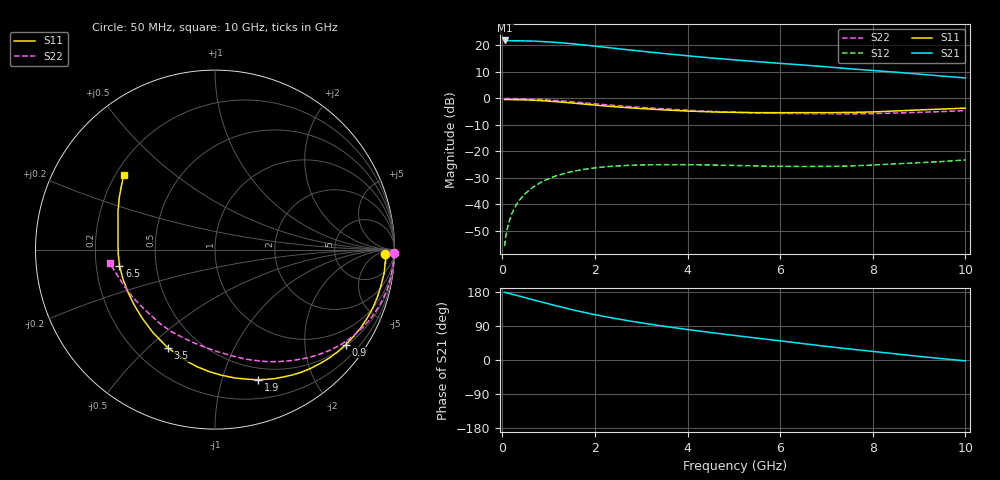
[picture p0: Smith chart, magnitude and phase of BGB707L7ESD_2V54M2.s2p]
!  Infineon Technologies AG
!  BGB707L7ESD
!  Vce = 2.5V, Ic = 4.2mA
!  DATUM: 30.06.2009 10:16:46
# GHz  S  MA  R  50
!f  S11  S21  S12  S22
!GHz  Mag  Ang  Mag  Ang  Mag  Ang  Mag  Ang
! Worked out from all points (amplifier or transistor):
!   52 points, 50 MHz to 10 GHz, reference 50 ohm
!   highest |S21| = 21.9 dB at 60 MHz (marker M1)
!   |S21| within 3 dB of that: start of sweep to 2.439 GHz
!   unconditionally stable (mu >= 1): 6.501 GHz to end of sweep
!   at 130 MHz: K = -0.01, MSG = 34.6 dB, |S12| = -47.5 dB
!   at 1.4 GHz: K = 0.13, MSG = 24.4 dB, |S12| = -28.0 dB
!   at 10 GHz: K = 1.02, MAG = 14.5 dB, |S12| = -23.2 dB
!   S11 on the Smith chart (normalised r, x): 50 MHz: 30, -16; 900 MHz: 0.54, -2.99; 1.9 GHz: 0.38, -1.31; 3.5 GHz: 0.33, -0.58; 6.5 GHz: 0.30, -0.08; 10 GHz: 0.23, +0.34
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0.05  0.95 -1.6  12.17 178.6  0.001635 97.5  0.9983 -1.2
0.06  0.9542 -2.6  12.41 178.3  0.001939 88.4  0.9988 -1.5
0.08  0.9481 -2.9  12.2 177.4  0.002637 88.6  0.9988 -2.1
0.09  0.954 -3.7  12.3 177.8  0.00292 88.2  0.9985 -2.4
0.2  0.9518 -8.1  12.28 174.1  0.006516 85.4  0.9962 -5.5
0.45  0.9398 -18.2  12.22 165.8  0.01458 78.6  0.9863 -12.4
0.7  0.9219 -28.2  12.05 157.6  0.02228 72.2  0.9664 -19.1
0.9  0.9004 -36.0  11.78 151.3  0.02798 67.1  0.9462 -24.4
1.3  0.8497 -51.2  11.16 139.0  0.03769 57.7  0.8942 -34.4
1.5  0.821 -58.3  10.76 133.0  0.04169 53.3  0.8648 -39.0
1.8  0.7775 -68.4  10.14 124.9  0.04648 47.4  0.821 -45.5
1.9  0.7632 -71.7  9.912 122.1  0.04779 45.7  0.8063 -47.5
2.2  0.7238 -81.3  9.291 114.9  0.05108 40.7  0.7654 -53.4
2.6  0.6805 -92.7  8.48 106.2  0.05398 35.2  0.7173 -60.4
3  0.644 -103.4  7.786 98.1  0.05566 30.8  0.6769 -66.8
3.5  0.6074 -115.6  7.027 88.8  0.0565 26.4  0.6349 -74.2
4.5  0.558 -136.3  5.815 72.5  0.05555 21.4  0.5712 -87.9
5.5  0.5396 -154.4  4.945 57.7  0.05329 20.7  0.5329 -102.5
6.5  0.5397 -170.4  4.268 43.2  0.05207 23.7  0.5177 -118.0
7  0.54 -178.0  3.947 35.8  0.05227 26.1  0.5141 -126.2
8.5  0.5809 158.5  3.126 16.1  0.0585 33.3  0.5305 -150.4
10  0.657 140.6  2.434 -2.3  0.06922 36.6  0.5917 -172.7
